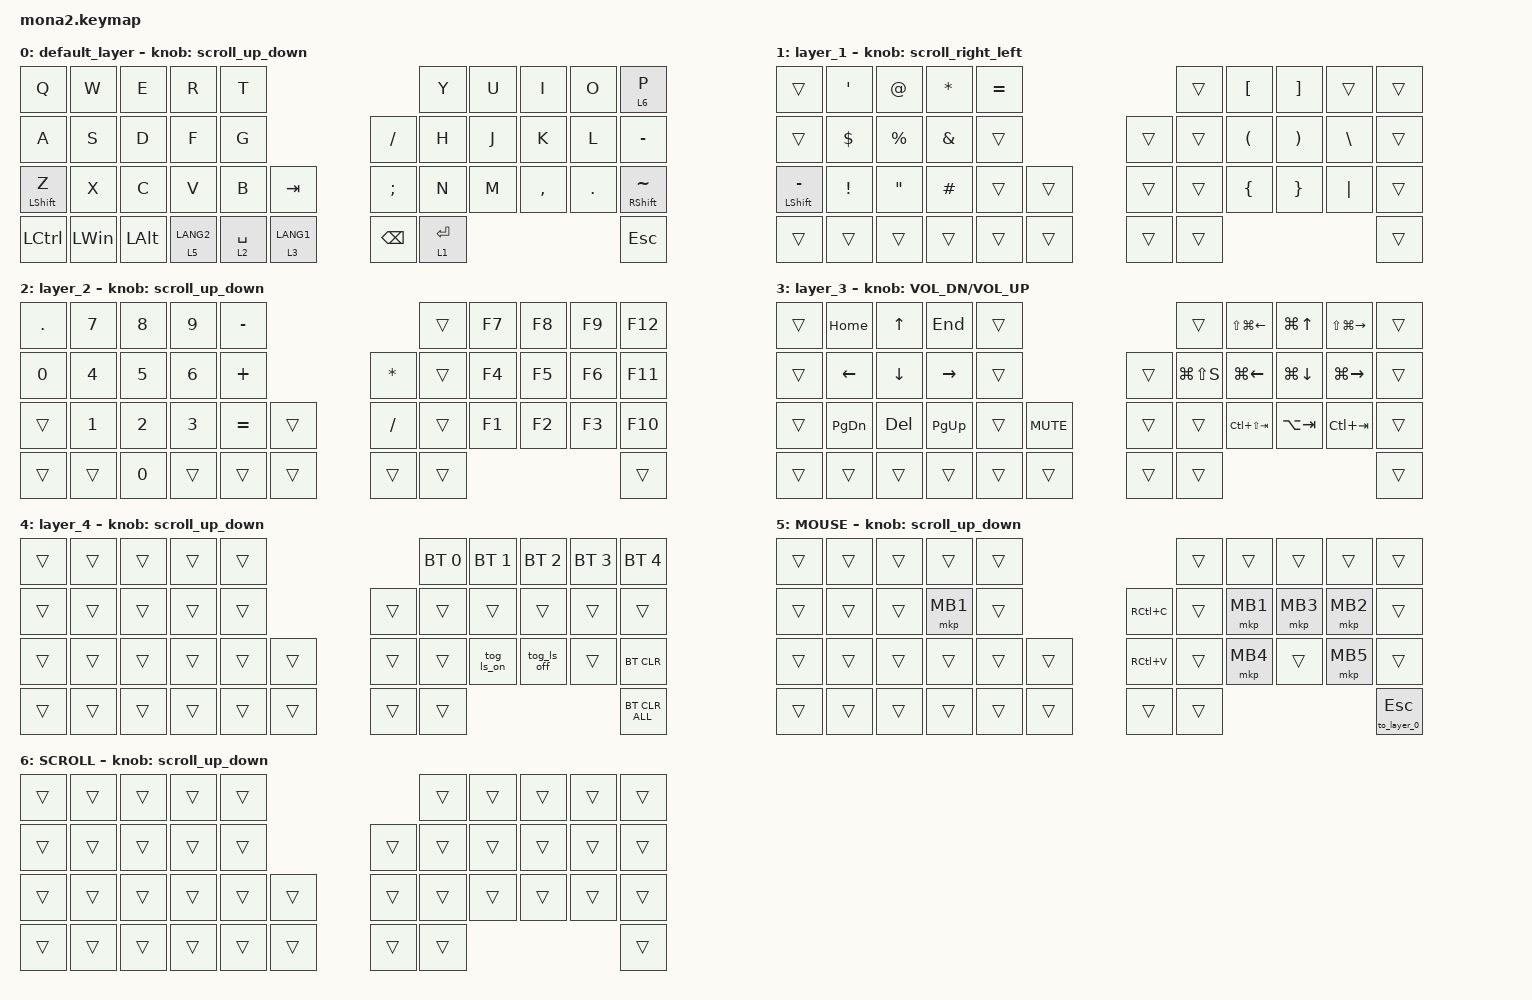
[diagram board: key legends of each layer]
#include <input/processors.dtsi>
#include <dt-bindings/zmk/input_transform.h>
#include <zephyr/dt-bindings/input/input-event-codes.h>

#include <behaviors.dtsi>
#include <dt-bindings/zmk/bt.h>
#include <dt-bindings/zmk/keys.h>
#include <dt-bindings/zmk/pointing.h>

// #include <layout_shift.dtsi>
#include <layout_shift_kp_override.dtsi>

#define ZMK_POINTING_DEFAULT_SCRL_VAL 100
#define MOUSE 5
#define SCROLL 6

&mt {
    flavor = "balanced";
    quick-tap-ms = <0>;
};

&lt {
    quick-tap-ms = <300>;
    flavor = "balanced";
};

/ {
    combos {
        compatible = "zmk,combos";

        delete {
            bindings = <&kp DEL>;
            key-positions = <39 21>;
        };

        Layer4_ESC {
            bindings = <&lt 4 ESC>;
            key-positions = <26 27>;
        };

        tab {
            bindings = <&kp TAB>;
            key-positions = <10 11>;
        };
    };

    macros {
        to_layer_0: to_layer_0 {
            compatible = "zmk,behavior-macro-one-param";
            #binding-cells = <1>;
            bindings = <&to 0 &macro_param_1to1 &kp MACRO_PLACEHOLDER>;
            label = "TO_LAYER_0";
        };
    };

    behaviors {
        lt_to_layer_0: lt_to_layer_0 {
            compatible = "zmk,behavior-hold-tap";
            label = "LAYER_TAP_TO_0";
            bindings = <&mo>, <&to_layer_0>;

            #binding-cells = <2>;
            tapping-term-ms = <220>;
        };

        scroll_up_down: mouse_wheel_up_down {
            compatible = "zmk,behavior-sensor-rotate";
            #sensor-binding-cells = <0>;
            bindings = <&msc SCRL_DOWN>, <&msc SCRL_UP>;

            tap-ms = <20>;
        };

        scroll_right_left: mouse_wheel_right_left {
            compatible = "zmk,behavior-sensor-rotate";
            #sensor-binding-cells = <0>;
            bindings = <&msc SCRL_LEFT>, <&msc SCRL_RIGHT>;

            tap-ms = <20>;
        };
    };

    keymap {
        compatible = "zmk,keymap";

        default_layer {
            bindings = <
&kp Q             &kp W         &kp E         &kp R                   &kp T                                                 &kp Y        &kp U  &kp I      &kp O    &lt 6 P
&kp A             &kp S         &kp D         &kp F                   &kp G                                  &kp SLASH      &kp H        &kp J  &kp K      &kp L    &kp MINUS
&mt LEFT_SHIFT Z  &kp X         &kp C         &kp V                   &kp B        &kp TAB                   &kp SEMI       &kp N        &kp M  &kp COMMA  &kp DOT  &mt RIGHT_SHIFT TILDE
&kp LCTRL         &kp LEFT_WIN  &kp LEFT_ALT  &lt_to_layer_0 5 LANG2  &lt 2 SPACE  &lt_to_layer_0 3 LANG1    &kp BACKSPACE  &lt 1 ENTER                             &kp ESC
            >;

            sensor-bindings = <&scroll_up_down>;
        };

        layer_1 {
            bindings = <
&trans                &kp SINGLE_QUOTE  &kp AT_SIGN        &kp ASTERISK   &kp EQUAL                    &trans  &kp LBKT              &kp RIGHT_BRACKET      &trans         &trans
&trans                &kp DOLLAR        &kp PERCENT        &kp AMPERSAND  &trans               &trans  &trans  &kp LEFT_PARENTHESIS  &kp RIGHT_PARENTHESIS  &kp BACKSLASH  &trans
&mt LEFT_SHIFT MINUS  &kp EXCLAMATION   &kp DOUBLE_QUOTES  &kp HASH       &trans     &trans    &trans  &trans  &kp LEFT_BRACE        &kp RIGHT_BRACE        &kp PIPE       &trans
&trans                &trans            &trans             &trans         &trans     &trans    &trans  &trans                                                              &trans
            >;

            sensor-bindings = <&scroll_right_left>;
        };

        layer_2 {
            bindings = <
&kp PERIOD  &kp N7  &kp N8  &kp N9  &kp MINUS                          &trans  &kp F7  &kp F8  &kp F9  &kp F12
&kp N0      &kp N4  &kp N5  &kp N6  &kp PLUS             &kp ASTERISK  &trans  &kp F4  &kp F5  &kp F6  &kp F11
&trans      &kp N1  &kp N2  &kp N3  &kp EQUAL  &trans    &kp SLASH     &trans  &kp F1  &kp F2  &kp F3  &kp F10
&trans      &trans  &kp N0  &trans  &trans     &trans    &trans        &trans                          &trans
            >;

            sensor-bindings = <&scroll_up_down>;
        };

        layer_3 {
            bindings = <
&trans  &kp HOME        &kp UP_ARROW    &kp END          &trans                        &trans         &kp LS(LG(LEFT))    &kp LG(UP_ARROW)    &kp LS(LG(RIGHT_ARROW))  &trans
&trans  &kp LEFT_ARROW  &kp DOWN_ARROW  &kp RIGHT_ARROW  &trans                &trans  &kp LG(LS(S))  &kp LG(LEFT_ARROW)  &kp LG(DOWN_ARROW)  &kp LG(RIGHT_ARROW)      &trans
&trans  &kp PAGE_DOWN   &kp DEL         &kp PAGE_UP      &trans  &kp K_MUTE    &trans  &trans         &kp LC(LS(TAB))     &kp LA(TAB)         &kp LC(TAB)              &trans
&trans  &trans          &trans          &trans           &trans  &trans        &trans  &trans                                                                          &trans
            >;

            sensor-bindings = <&inc_dec_kp C_VOL_DN C_VOL_UP>;
        };

        layer_4 {
            bindings = <
&trans  &trans  &trans  &trans  &trans                    &bt BT_SEL 0  &bt BT_SEL 1  &bt BT_SEL 2  &bt BT_SEL 3  &bt BT_SEL 4
&trans  &trans  &trans  &trans  &trans            &trans  &trans        &trans        &trans        &trans        &trans
&trans  &trans  &trans  &trans  &trans  &trans    &trans  &trans        &tog_ls_on    &tog_ls_off   &trans        &bt BT_CLR
&trans  &trans  &trans  &trans  &trans  &trans    &trans  &trans                                                  &bt BT_CLR_ALL
            >;

            sensor-bindings = <&scroll_up_down>;
        };

        MOUSE {
            bindings = <
&trans  &trans  &trans  &trans    &trans                       &trans  &trans    &trans    &trans    &trans
&trans  &trans  &trans  &mkp MB1  &trans            &kp RC(C)  &trans  &mkp MB1  &mkp MB3  &mkp MB2  &trans
&trans  &trans  &trans  &trans    &trans  &trans    &kp RC(V)  &trans  &mkp MB4  &trans    &mkp MB5  &trans
&trans  &trans  &trans  &trans    &trans  &trans    &trans     &trans                                &to_layer_0 ESCAPE
            >;

            sensor-bindings = <&scroll_up_down>;
        };

        SCROLL {
            bindings = <
&trans  &trans  &trans  &trans  &trans                    &trans  &trans  &trans  &trans  &trans
&trans  &trans  &trans  &trans  &trans            &trans  &trans  &trans  &trans  &trans  &trans
&trans  &trans  &trans  &trans  &trans  &trans    &trans  &trans  &trans  &trans  &trans  &trans
&trans  &trans  &trans  &trans  &trans  &trans    &trans  &trans                          &trans
            >;

            sensor-bindings = <&scroll_up_down>;
        };
    };
};
